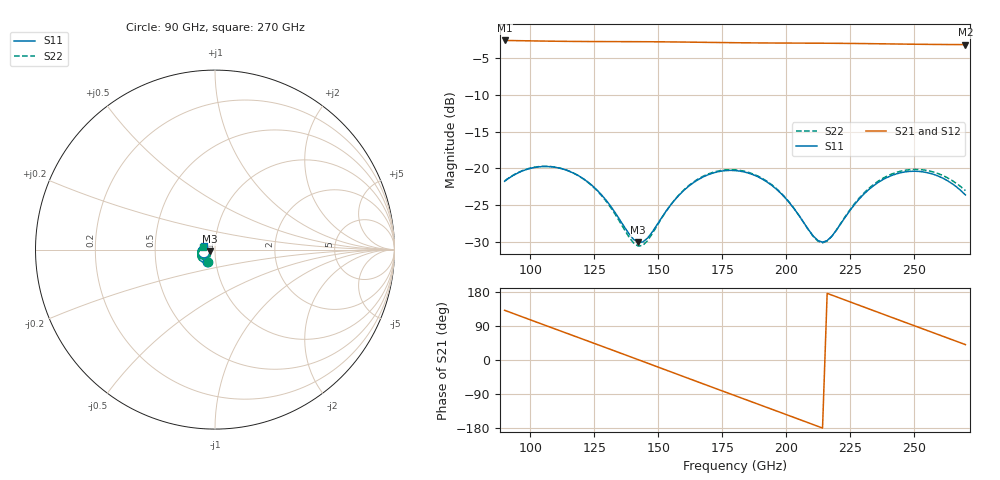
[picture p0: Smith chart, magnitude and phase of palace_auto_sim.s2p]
#  GHZ S DB R 50
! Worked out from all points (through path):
!   101 points, 90 GHz to 270 GHz, reference 50 ohm
!   highest |S21| = -2.62 dB at 90 GHz (marker M1); lowest = -3.2 dB at 270 GHz (marker M2)
!   group delay of S21, straight-line fit = 6.96 ps
!   lowest |S11| = -30.0 dB at 142.2 GHz (marker M3), VSWR 1.07, Z = 47.1 - j0.882 ohm
!   |S11| at or under -10 dB: start of sweep to end of sweep
!   |S22| runs from -30.5 to -19.7 dB; largest |S21 - S12| = 8.3e-14
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90  -21.74 -120.8  -2.62 131.2  -2.62 131.2  -21.69 -119.6
97.2  -20.30 -133.7  -2.66 113.2  -2.66 113.2  -20.25 -132.6
104.4  -19.74 -147.7  -2.70 95.2  -2.70 95.2  -19.71 -146.9
111.6  -19.96 -161.8  -2.73 77.2  -2.73 77.2  -19.95 -161.1
120.6  -21.35 -177.8  -2.76 54.8  -2.76 54.8  -21.38 -177.4
131.4  -25.11 171.0  -2.77 27.9  -2.77 27.9  -25.27 171.1
142.2  -30.03 -162.7  -2.79 0.8  -2.79 0.8  -30.55 -160.2
145.8  -29.47 -144.7  -2.79 -8.2  -2.79 -8.2  -29.81 -140.7
151.2  -26.76 -130.9  -2.80 -21.8  -2.80 -21.8  -26.83 -126.9
165.6  -21.51 -140.9  -2.86 -58.0  -2.86 -58.0  -21.42 -138.0
172.8  -20.48 -152.9  -2.89 -76.1  -2.89 -76.1  -20.39 -150.2
180  -20.28 -165.8  -2.92 -94.1  -2.92 -94.1  -20.18 -163.2
194.4  -22.30 170.9  -2.96 -130.0  -2.96 -130.0  -22.22 173.4
203.4  -25.61 164.6  -2.98 -152.5  -2.98 -152.5  -25.57 167.0
210.6  -29.18 177.4  -2.99 -170.6  -2.99 -170.6  -29.24 -179.8
216  -29.79 -157.0  -3.00 175.9  -3.00 175.9  -29.85 -153.2
225  -25.66 -136.4  -3.02 153.2  -3.02 153.2  -25.55 -132.1
232.2  -22.88 -140.4  -3.05 135.1  -3.05 135.1  -22.72 -136.1
241.2  -20.95 -153.1  -3.09 112.6  -3.09 112.6  -20.75 -148.6
248.4  -20.39 -165.3  -3.12 94.6  -3.12 94.6  -20.15 -160.4
255.6  -20.60 -177.8  -3.15 76.6  -3.15 76.6  -20.31 -172.4
270  -23.59 161.6  -3.18 40.6  -3.18 40.6  -23.00 168.6
